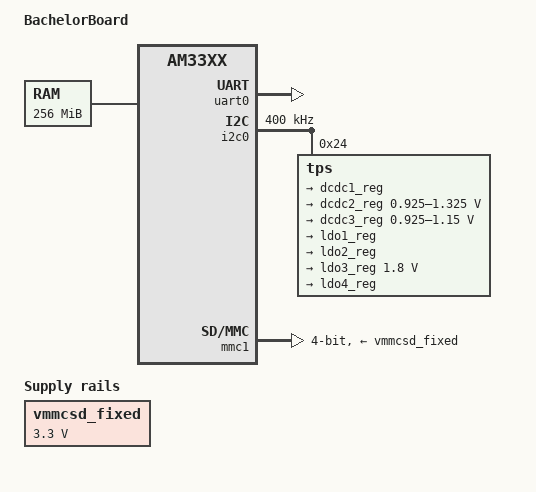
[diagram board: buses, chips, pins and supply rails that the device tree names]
/*
 * Copyright (C) 2012 Texas Instruments Incorporated - http://www.ti.com/
 *
 * This program is free software; you can redistribute it and/or modify
 * it under the terms of the GNU General Public License version 2 as
 * published by the Free Software Foundation.
 */
/dts-v1/;

#include "am33xx.dtsi"

/* from am335x-bone-common.dtsi */

/ {
	cpus {
		cpu@0 {
			cpu0-supply = <&dcdc2_reg>;
		};
	};

	memory {
		device_type = "memory";
		reg = <0x80000000 0x10000000>; /* 256 MB */
	};

	vmmcsd_fixed: fixedregulator@0 {
		compatible = "regulator-fixed";
		regulator-name = "vmmcsd_fixed";
		regulator-min-microvolt = <3300000>;
		regulator-max-microvolt = <3300000>;
	};
};

&am33xx_pinmux {
	pinctrl-names = "default";
	pinctrl-0 = <&clkout2_pin>;

	i2c0_pins: pinmux_i2c0_pins {
		pinctrl-single,pins = <
			0x188 (PIN_INPUT_PULLUP | MUX_MODE0)	/* i2c0_sda.i2c0_sda */
			0x18c (PIN_INPUT_PULLUP | MUX_MODE0)	/* i2c0_scl.i2c0_scl */
		>;
	};


	uart0_pins: pinmux_uart0_pins {
		pinctrl-single,pins = <
			0x170 (PIN_INPUT_PULLUP | MUX_MODE0)	/* uart0_rxd.uart0_rxd */
			0x174 (PIN_OUTPUT_PULLDOWN | MUX_MODE0)	/* uart0_txd.uart0_txd */
		>;
	};

	clkout2_pin: pinmux_clkout2_pin {
		pinctrl-single,pins = <
			0x1b4 (PIN_OUTPUT_PULLDOWN | MUX_MODE3)	/* xdma_event_intr1.clkout2 */
		>;
	};
};

&uart0 {
	pinctrl-names = "default";
	pinctrl-0 = <&uart0_pins>;

	status = "okay";
};

&i2c0 {
	pinctrl-names = "default";
	pinctrl-0 = <&i2c0_pins>;

	status = "okay";
	clock-frequency = <400000>;

	tps: tps@24 {
		reg = <0x24>;
	};
};


/include/ "tps65217.dtsi"

&tps {
	/*
	 * Configure pmic to enter OFF-state instead of SLEEP-state ("RTC-only
	 * mode") at poweroff.  Most BeagleBone versions do not support RTC-only
	 * mode and risk hardware damage if this mode is entered.
	 *
	 * For details, see linux-omap mailing list May 2015 thread
	 *	[PATCH] ARM: dts: am335x-bone* enable pmic-shutdown-controller
	 * In particular, messages:
	 *	http://www.spinics.net/lists/linux-omap/msg118585.html
	 *	http://www.spinics.net/lists/linux-omap/msg118615.html
	 *
	 * You can override this later with
	 *	&tps {  /delete-property/ ti,pmic-shutdown-controller;  }
	 * if you want to use RTC-only mode and made sure you are not affected
	 * by the hardware problems. (Tip: double-check by performing a current
	 * measurement after shutdown: it should be less than 1 mA.)
	 */
	ti,pmic-shutdown-controller;

	regulators {
		dcdc1_reg: regulator@0 {
			regulator-name = "vdds_dpr";
			regulator-always-on;
		};

		dcdc2_reg: regulator@1 {
			/* VDD_MPU voltage limits 0.95V - 1.26V with +/-4% tolerance */
			regulator-name = "vdd_mpu";
			regulator-min-microvolt = <925000>;
			regulator-max-microvolt = <1325000>;
			regulator-boot-on;
			regulator-always-on;
		};

		dcdc3_reg: regulator@2 {
			/* VDD_CORE voltage limits 0.95V - 1.1V with +/-4% tolerance */
			regulator-name = "vdd_core";
			regulator-min-microvolt = <925000>;
			regulator-max-microvolt = <1150000>;
			regulator-boot-on;
			regulator-always-on;
		};

		ldo1_reg: regulator@3 {
			regulator-name = "vio,vrtc,vdds";
			regulator-always-on;
		};

		ldo2_reg: regulator@4 {
			regulator-name = "vdd_3v3aux";
			regulator-always-on;
		};

		ldo3_reg: regulator@5 {
			regulator-name = "vdd_1v8";
			regulator-always-on;
		};

		ldo4_reg: regulator@6 {
			regulator-name = "vdd_3v3a";
			regulator-always-on;
		};
	};
};


&mmc1 {
	status = "okay";
	bus-width = <0x4>;
	/*pinctrl-names = "default";
	pinctrl-0 = <&mmc1_pins>;
	cd-gpios = <&gpio0 6 GPIO_ACTIVE_LOW>;*/
};

/* end of code from am335x-bone-common.dtsi */

/ {
	model = "BachelorBoard";
	compatible = "ti,bachelor", "ti,am335x-bone", "ti,am33xx";
	chosen {
		stdout-path = &uart0;
		tick-timer = &timer2;
	};
};

&ldo3_reg {
	regulator-min-microvolt = <1800000>;
	regulator-max-microvolt = <1800000>;
	regulator-always-on;
};

&mmc1 {
	/*/delete-property/cd-gpios;*/
	/*non-removable;*/
	vmmc-supply = <&vmmcsd_fixed>;
};


&rtc {
	system-power-controller;
};
